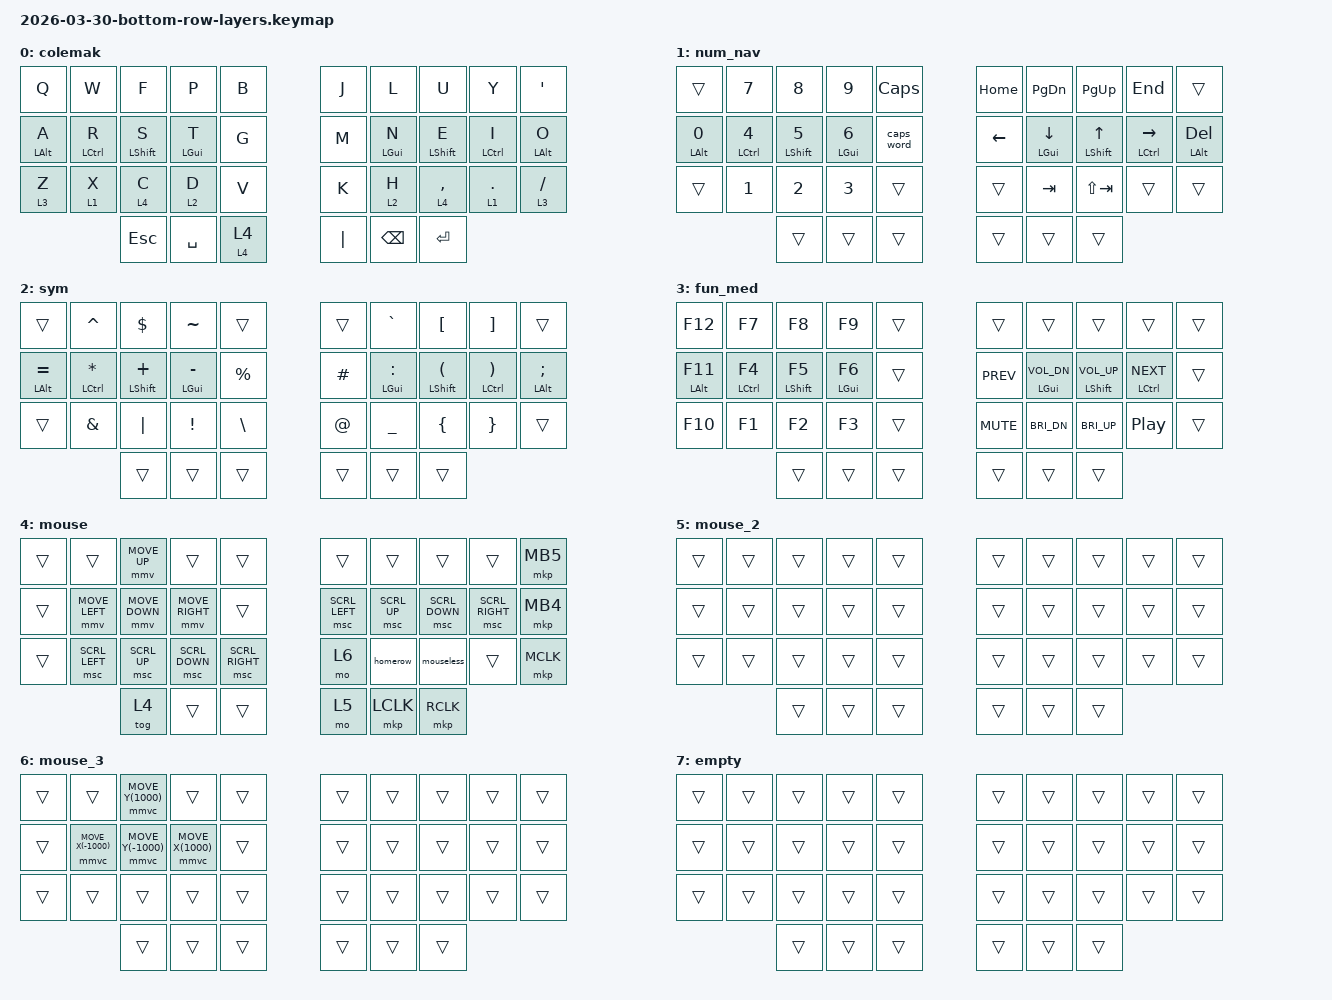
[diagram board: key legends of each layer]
#define ZMK_POINTING_DEFAULT_MOVE_VAL 1500 // 600
#define ZMK_POINTING_DEFAULT_SCRL_VAL 30 // 10

#define ___ &trans

#include <behaviors.dtsi>
#include <dt-bindings/zmk/keys.h>
#include <dt-bindings/zmk/bt.h>

#include <dt-bindings/zmk/pointing.h>
#include <input/processors.dtsi>

&mmv {
    acceleration-exponent = <1>;      // 1
    time-to-max-speed-ms = <500>;     // 300
    trigger-period-ms = <8>;
};

&msc {
    acceleration-exponent = <1>;      // 0
    time-to-max-speed-ms = <40>;      // 300
    trigger-period-ms = <8>;
};

&mmv_input_listener {
    precision {
        layers = <5>;
        input-processors = <&zip_xy_scaler 1 4>;
    };
};

&msc_input_listener {
    turbo {
        layers = <5>;
        input-processors = <&zip_scroll_scaler 4 1>;
    };
};

/ {
    macros {
        mouseless: mouseless {
            compatible = "zmk,behavior-macro";
            #binding-cells = <0>;
            bindings
                = <&macro_tap &to 0>
                , <&macro_tap &kp LA(LC(LS(LG(F))))>;
        };
        homerow: homerow {
            compatible = "zmk,behavior-macro";
            #binding-cells = <0>;
            bindings
                = <&macro_tap &to 0>
                , <&macro_tap &kp LA(LC(LS(LG(H))))>;
        };
    };
};

/ {
    combos {
        compatible = "zmk,combos";
        combo_homerow {
            timeout-ms = <35>;
            key-positions = <2 12>;
            bindings = <&kp LA(LC(LS(LG(H))))>;
            require-prior-idle-ms = <125>;
        };
        combo_mouseless {
            timeout-ms = <35>;
            key-positions = <13 14>;
            bindings = <&kp LA(LC(LS(LG(F))))>;
            require-prior-idle-ms = <125>;
        };
    };
};

/ {
    chosen {
        zmk,physical-layout = &foostan_corne_5col_layout;
    };

    behaviors {
        mmvc: mouse_move_constant {
                compatible = "zmk,behavior-input-two-axis";
                #binding-cells = <1>;
                x-input-code = <INPUT_REL_X>;
                y-input-code = <INPUT_REL_Y>;
                time-to-max-speed-ms = <300>;  // irrelevant
                acceleration-exponent = <0>;  // changed to zero
        };

        mmvc_input_listener: mmvc_input_listener {
            compatible = "zmk,input-listener";
            device = <&mmvc>;
        };

        mo_tog: mo_tog {
            compatible = "zmk,behavior-hold-tap";
            flavor = "hold-preferred";
            bindings = <&mo>, <&tog>;
            #binding-cells = <2>;
            tapping-term-ms = <150>;
        };

        blt: balanced_layer_tap {
            compatible = "zmk,behavior-hold-tap";
            flavor = "balanced";
            bindings = <&mo>, <&kp>;
            #binding-cells = <2>;
            tapping-term-ms = <200>;
            quick-tap-ms = <200>;
        };
        hplt: hold_preferred_layer_tap {
            compatible = "zmk,behavior-hold-tap";
            flavor = "hold-preferred";
            bindings = <&mo>, <&kp>;
            #binding-cells = <2>;
            tapping-term-ms = <200>;
            quick-tap-ms = <200>;
        };
        bmt: balanced_mod_tap {
            compatible = "zmk,behavior-hold-tap";
            flavor = "balanced";
            bindings = <&kp>, <&kp>;
            #binding-cells = <2>;
            tapping-term-ms = <200>;
            quick-tap-ms = <200>;
        };
        hpmt: hold_preferred_mod_tap {
            compatible = "zmk,behavior-hold-tap";
            flavor = "hold-preferred";
            bindings = <&kp>, <&kp>;
            #binding-cells = <2>;
            tapping-term-ms = <200>;
            quick-tap-ms = <200>;
        };
        lmt: left_mod_tap {
            compatible = "zmk,behavior-hold-tap";
            flavor = "balanced";
            bindings = <&kp>, <&kp>;
            #binding-cells = <2>;
            tapping-term-ms = <200>;
            quick-tap-ms = <200>;
            require-prior-idle-ms = <125>;
            hold-trigger-key-positions = <5 6 7 8 9 15 16 17 18 19 25 26 27 28 29 33 34 35>;
            hold-trigger-on-release;
        };
        rmt: right_mod_tap {
            compatible = "zmk,behavior-hold-tap";
            flavor = "balanced";
            bindings = <&kp>, <&kp>;
            #binding-cells = <2>;
            tapping-term-ms = <200>;
            quick-tap-ms = <200>;
            require-prior-idle-ms = <125>;
            hold-trigger-key-positions = <0 1 2 3 4 10 11 12 13 14 20 21 22 23 24 30 31 32>;
            hold-trigger-on-release;
        };
        llt: left_layer_tap {
            compatible = "zmk,behavior-hold-tap";
            flavor = "balanced";
            bindings = <&mo>, <&kp>;
            #binding-cells = <2>;
            tapping-term-ms = <200>;
            quick-tap-ms = <200>;
            require-prior-idle-ms = <125>;
            hold-trigger-key-positions = <5 6 7 8 9 15 16 17 18 19 25 26 27 28 29 33 34 35>;
            hold-trigger-on-release;
        };
        rlt: right_layer_tap {
            compatible = "zmk,behavior-hold-tap";
            flavor = "balanced";
            bindings = <&mo>, <&kp>;
            #binding-cells = <2>;
            tapping-term-ms = <200>;
            quick-tap-ms = <200>;
            require-prior-idle-ms = <125>;
            hold-trigger-key-positions = <0 1 2 3 4 10 11 12 13 14 20 21 22 23 24 30 31 32>;
            hold-trigger-on-release;
        };
        lmt_fast: left_mod_tap_fast {
            compatible = "zmk,behavior-hold-tap";
            flavor = "balanced";
            bindings = <&kp>, <&kp>;
            #binding-cells = <2>;
            tapping-term-ms = <200>;
            hold-trigger-key-positions = <5 6 7 8 9 15 16 17 18 19 25 26 27 28 29 33 34 35>;
            hold-trigger-on-release;
        };
        rmt_fast: right_mod_tap_fast {
            compatible = "zmk,behavior-hold-tap";
            flavor = "balanced";
            bindings = <&kp>, <&kp>;
            #binding-cells = <2>;
            tapping-term-ms = <200>;
            hold-trigger-key-positions = <0 1 2 3 4 10 11 12 13 14 20 21 22 23 24 30 31 32>;
            hold-trigger-on-release;
        };
        // TODO not working properly on the bottom row for some reason
        // llt_fast: left_layer_tap_fast {
            // compatible = "zmk,behavior-hold-tap";
            // flavor = "balanced";
            // bindings = <&mo>, <&kp>;
            // #binding-cells = <2>;
            // tapping-term-ms = <200>;
            // hold-trigger-key-positions = <5 6 7 8 9 15 16 17 18 19 25 26 27 28 29 33 34 35>;
            // hold-trigger-on-release;
        // };
        // rlt_fast: right_layer_tap_fast {
            // compatible = "zmk,behavior-hold-tap";
            // flavor = "balanced";
            // bindings = <&mo>, <&kp>;
            // #binding-cells = <2>;
            // tapping-term-ms = <200>;
            // hold-trigger-key-positions = <0 1 2 3 4 10 11 12 13 14 20 21 22 23 24 30 31 32>;
            // hold-trigger-on-release;
        // };
        llt_fast: left_layer_tap_fast {
            compatible = "zmk,behavior-hold-tap";
            flavor = "balanced";
            bindings = <&mo>, <&kp>;
            #binding-cells = <2>;
            tapping-term-ms = <200>;
        };
        rlt_fast: right_layer_tap_fast {
            compatible = "zmk,behavior-hold-tap";
            flavor = "balanced";
            bindings = <&mo>, <&kp>;
            #binding-cells = <2>;
            tapping-term-ms = <200>;
        };
    };

    keymap {
        compatible = "zmk,keymap";

        colemak {
            bindings = <
&kp Q               &kp W               &kp F               &kp P               &kp B               &kp J               &kp L               &kp U               &kp Y               &kp SQT
&lmt LALT A         &lmt LCTRL R        &lmt_fast LSHIFT S  &lmt LGUI T         &kp G               &kp M               &rmt LGUI N         &rmt_fast LSHIFT E  &rmt LCTRL I        &rmt LALT O
&llt 3 Z            &llt_fast 1 X       &llt 4 C            &llt_fast 2 D       &kp V               &kp K               &rlt_fast 2 H       &rlt 4 COMMA        &rlt_fast 1 DOT     &rlt 3 FSLH
                                        &kp ESC             &kp SPACE           &mo_tog 4 4         &kp PIPE            &kp BSPC            &kp RET
            >;
        };

        num_nav {
            bindings = <
___                 &kp N7              &kp N8              &kp N9              &kp CAPS            &kp HOME            &kp PG_DN           &kp PG_UP           &kp END             ___
&lmt LALT N0        &lmt LCTRL N4       &lmt LSHIFT N5      &lmt LGUI N6        &caps_word          &kp LEFT            &rmt LGUI DOWN      &rmt LSHIFT UP      &rmt LCTRL RIGHT    &rmt LALT DEL
___                 &kp N1              &kp N2              &kp N3              ___                 ___                 &kp TAB             &kp LS(TAB)         ___                 ___
                                        ___                 ___                 ___                 ___                 ___                 ___
            >;
        };

        sym {
            bindings = <
___                 &kp CARET           &kp DLLR            &kp TILDE           ___                 ___                 &kp GRAVE           &kp LBKT            &kp RBKT            ___
&lmt LALT EQUAL     &lmt LCTRL STAR     &lmt LSHIFT PLUS    &lmt LGUI MINUS     &kp PRCNT           &kp HASH            &rmt LGUI COLON     &rmt LSHIFT LPAR    &rmt LCTRL RPAR     &rmt LALT SEMI
___                 &kp AMPS            &kp PIPE            &kp EXCL            &kp BSLH            &kp AT              &kp UNDER           &kp LBRC            &kp RBRC            ___
                                        ___                 ___                 ___                 ___                 ___                 ___
            >;
        };

        fun_med {
            bindings = <
&kp F12             &kp F7              &kp F8              &kp F9              ___                 ___                 ___                 ___                 ___                 ___
&lmt LALT F11       &lmt LCTRL F4       &lmt LSHIFT F5      &lmt LGUI F6        ___                 &kp C_PREV          &rmt LGUI C_VOL_DN &rmt LSHIFT C_VOL_UP &rmt LCTRL C_NEXT   ___
&kp F10             &kp F1              &kp F2              &kp F3              ___                 &kp C_MUTE          &kp C_BRI_DN        &kp C_BRI_UP        &kp C_PP            ___
                                        ___                 ___                 ___                 ___                 ___                 ___
            >;
        };

        mouse {
            bindings = <
___                 ___                 &mmv MOVE_UP        ___                 ___                 ___                 ___                 ___                 ___                 &mkp MB5
___                 &mmv MOVE_LEFT      &mmv MOVE_DOWN      &mmv MOVE_RIGHT     ___                 &msc SCRL_LEFT      &msc SCRL_UP        &msc SCRL_DOWN      &msc SCRL_RIGHT     &mkp MB4
___                 &msc SCRL_LEFT      &msc SCRL_UP        &msc SCRL_DOWN      &msc SCRL_RIGHT     &mo 6               &homerow            &mouseless          ___                 &mkp MCLK
                                        &tog 4              ___                 ___                 &mo 5               &mkp LCLK           &mkp RCLK
            >;
        };

        mouse_2 {
            bindings = <
___                 ___                 ___                 ___                 ___                 ___                 ___                 ___                 ___                 ___
___                 ___                 ___                 ___                 ___                 ___                 ___                 ___                 ___                 ___
___                 ___                 ___                 ___                 ___                 ___                 ___                 ___                 ___                 ___
                                        ___                 ___                 ___                 ___                 ___                 ___
            >;
        };

        mouse_3 {
            bindings = <
___                 ___                 &mmvc MOVE_Y(1000)  ___                 ___                 ___                 ___                 ___                 ___                 ___
___                 &mmvc MOVE_X(-1000) &mmvc MOVE_Y(-1000) &mmvc MOVE_X(1000)  ___                 ___                 ___                 ___                 ___                 ___
___                 ___                 ___                 ___                 ___                 ___                 ___                 ___                 ___                 ___
                                        ___                 ___                 ___                 ___                 ___                 ___
            >;
        };

        empty {
            bindings = <
___                 ___                 ___                 ___                 ___                 ___                 ___                 ___                 ___                 ___
___                 ___                 ___                 ___                 ___                 ___                 ___                 ___                 ___                 ___
___                 ___                 ___                 ___                 ___                 ___                 ___                 ___                 ___                 ___
                                        ___                 ___                 ___                 ___                 ___                 ___
            >;
        };
    };
};
